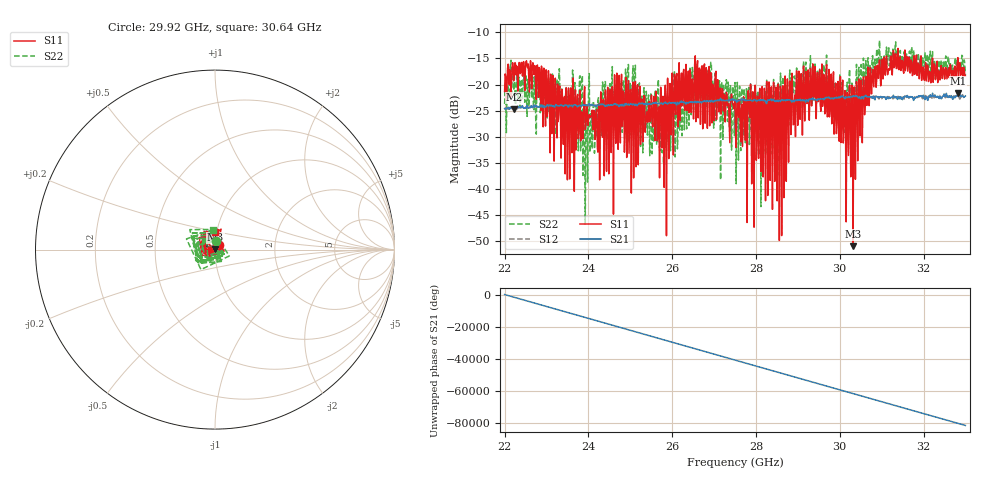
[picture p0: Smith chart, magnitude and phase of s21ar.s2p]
!Keysight Technologies,N5224B,MY57181201,A.12.70.07
!Date: Friday, July 15, 2022 16:15:02
!Correction: S11(Full 2 Port(1,2))
!S21(Full 2 Port(1,2))
!S12(Full 2 Port(1,2))
!S22(Full 2 Port(1,2))
!S2P File: Measurements: S11, S21, S12, S22:
# Hz S  dB  R 50
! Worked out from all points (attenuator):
!   801 points, 22 GHz to 33 GHz, reference 50 ohm
!   highest |S21| = -21.63 dB at 32.82 GHz (marker M1); lowest = -24.7 dB at 22.23 GHz (marker M2)
!   lowest |S11| = -51.0 dB at 30.32 GHz (marker M3), VSWR 1.01, Z = 50.2 + j0.218 ohm
!   |S11| at or under -10 dB: start of sweep to end of sweep
!   |S22| runs from -46.7 to -11.6 dB; largest |S21 - S12| = 0.0079
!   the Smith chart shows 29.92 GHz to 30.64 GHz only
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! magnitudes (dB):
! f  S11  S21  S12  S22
! 22 GHz  -21.3  -24.6  -24.6  -23.7
! 22.23 GHz  -16.7  -24.7  -24.6  -19.4
! 22.67 GHz  -15.8  -24.3  -24.5  -18.3
! 23.5 GHz  -38.2  -24.0  -23.9  -24.7
! 23.84 GHz  -25.2  -24.1  -24.2  -19.0
! 23.93 GHz  -28.6  -23.9  -23.9  -46.7
! 24.9 GHz  -18.6  -23.6  -23.6  -19.1
! 25.67 GHz  -24.4  -23.7  -23.7  -19.0
! 25.75 GHz  -32.2  -23.6  -23.5  -33.0
! 26 GHz  -17.8  -23.5  -23.4  -21.2
! 26.59 GHz  -16.8  -23.4  -23.5  -16.1
! 27.5 GHz  -23.2  -23.0  -23.0  -19.6
! 28.17 GHz  -37.7  -22.9  -23.0  -29.3
! 28.48 GHz  -20.5  -23.3  -23.1  -20.6
! 28.61 GHz  -48.9  -22.9  -23.0  -28.1
! 28.81 GHz  -19.3  -23.0  -23.0  -17.2
! 29.34 GHz  -19.0  -22.7  -23.0  -20.7
! 30.32 GHz  -51.0  -22.2  -22.4  -29.0
! 30.68 GHz  -16.7  -22.4  -22.5  -14.9
! 31.17 GHz  -17.0  -22.7  -22.3  -13.0
! 32.82 GHz  -14.8  -21.6  -22.0  -15.8
! 33 GHz  -18.3  -22.2  -22.1  -18.2
